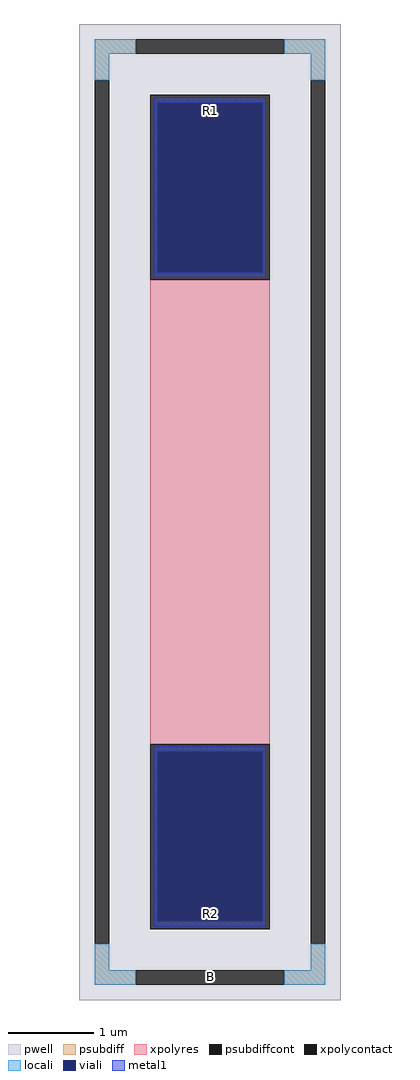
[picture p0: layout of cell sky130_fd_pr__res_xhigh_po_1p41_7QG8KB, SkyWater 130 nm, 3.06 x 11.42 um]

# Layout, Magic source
magic
tech sky130A
<< pwell >>
rect -153 -571 153 571
<< psubdiff >>
rect -135 536 -87 553
rect 87 536 135 553
rect -135 505 -118 536
rect 118 505 135 536
rect -135 -536 -118 -505
rect 118 -536 135 -505
rect -135 -553 -87 -536
rect 87 -553 135 -536
<< psubdiffcont >>
rect -87 536 87 553
rect -135 -505 -118 505
rect 118 -505 135 505
rect -87 -553 87 -536
<< xpolycontact >>
rect -70 272 70 488
rect -70 -488 70 -272
<< xpolyres >>
rect -70 -272 70 272
<< locali >>
rect -135 536 -87 553
rect 87 536 135 553
rect -135 505 -118 536
rect 118 505 135 536
rect -135 -536 -118 -505
rect 118 -536 135 -505
rect -135 -553 -87 -536
rect 87 -553 135 -536
<< viali >>
rect -62 280 62 479
rect -62 -479 62 -280
<< metal1 >>
rect -65 479 65 485
rect -65 280 -62 479
rect 62 280 65 479
rect -65 274 65 280
rect -65 -280 65 -274
rect -65 -479 -62 -280
rect 62 -479 65 -280
rect -65 -485 65 -479
<< labels >>
rlabel psubdiffcont 0 -544 0 -544 0 B
port 4 nsew
rlabel xpolycontact 0 470 0 470 0 R1
port 5 nsew
rlabel xpolycontact 0 -470 0 -470 0 R2
port 6 nsew
<< properties >>
string FIXED_BBOX -127 -544 127 544
string gencell sky130_fd_pr__res_xhigh_po_1p41
string library sky130
string parameters w 1.410 l 5.6 m 1 nx 1 wmin 1.410 lmin 0.50 class resistor rho 2000 val 8.21k dummy 0 dw 0.0 term 188.2 sterm 0.0 caplen 0 wmax 1.410 guard 1 glc 1 grc 1 gtc 1 gbc 1 compatible {sky130_fd_pr__res_xhigh_po_0p35  sky130_fd_pr__res_xhigh_po_0p69 sky130_fd_pr__res_xhigh_po_1p41  sky130_fd_pr__res_xhigh_po_2p85 sky130_fd_pr__res_xhigh_po_5p73} snake 0 full_metal 1 n_guard 0 hv_guard 0 vias 1 viagb 0 viagt 0 viagl 0 viagr 0 doports 1
<< end >>
